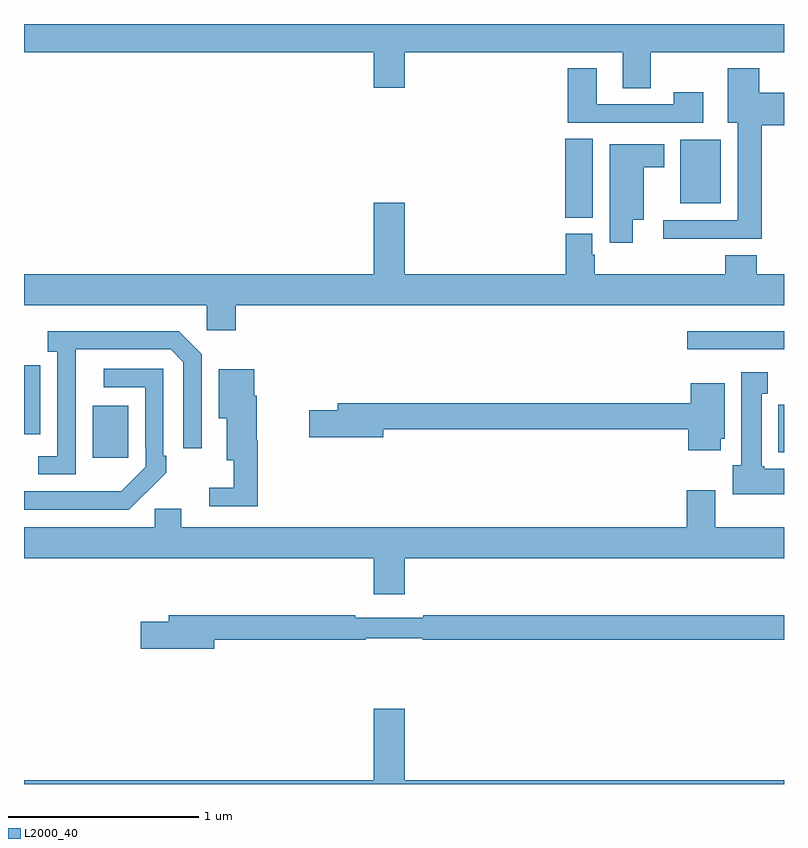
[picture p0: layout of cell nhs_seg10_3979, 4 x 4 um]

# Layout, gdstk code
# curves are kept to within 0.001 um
import gdstk
lib = gdstk.Library(unit=1e-6, precision=1e-09)
def R(c, l, rs):  # rectangles x0, y0, x1, y1
    for r in rs: c.add(gdstk.rectangle(r[:2], r[2:], *l))
def P(c, l, *ps):  # polygons
    for p in ps: c.add(gdstk.Polygon(p, *l))
L2000_40 = (2000, 40)

nhs_seg10_3979 = lib.new_cell('nhs_seg10_3979')
R(nhs_seg10_3979, L2000_40, [(331.361,1262.217,331.549,1262.491), (334.971,1262.246,335,1262.496), (334.491,1262.787,335,1262.884), (333.848,1263.481,333.994,1263.896), (334.454,1263.557,334.666,1263.892)])
P(nhs_seg10_3979, L2000_40, [(334.299,1264.352),(335,1264.352),(335,1264.5),(331,1264.5),(331,1264.352),(332.84,1264.352),(332.84,1264.164),(333.004,1264.164),(333.004,1264.352),(334.151,1264.352),(334.151,1264.162),(334.299,1264.162)],
  [(334.883,1263.968),(335,1263.968),(335,1264.138),(334.87,1264.138),(334.87,1264.267),(334.703,1264.267),(334.703,1263.98),(334.757,1263.98),(334.757,1263.468),(334.365,1263.468),(334.365,1263.371),(334.883,1263.371)],
  [(334.576,1264.141),(334.42,1264.141),(334.42,1264.077),(334.015,1264.077),(334.015,1264.267),(333.863,1264.267),(333.863,1263.981),(334.576,1263.981)],
  [(334.204,1263.47),(334.261,1263.47),(334.261,1263.746),(334.369,1263.746),(334.369,1263.868),(334.082,1263.868),(334.082,1263.348),(334.204,1263.348)],
  [(332.114,1263.02),(335,1263.02),(335,1263.184),(334.856,1263.184),(334.856,1263.283),(334.691,1263.283),(334.691,1263.184),(334.004,1263.184),(334.004,1263.285),(333.991,1263.285),(333.991,1263.396),(333.851,1263.396),(333.851,1263.184),(333.004,1263.184),(333.004,1263.559),(332.84,1263.559),(332.84,1263.184),(331,1263.184),(331,1263.02),(331.962,1263.02),(331.962,1262.889),(332.114,1262.889)],
  [(331.272,1262.587),(331.273,1262.787),(331.773,1262.787),(331.839,1262.721),(331.839,1262.268),(331.935,1262.268),(331.935,1262.763),(331.814,1262.884),(331.125,1262.884),(331.125,1262.774),(331.176,1262.774),(331.176,1262.226),(331.074,1262.226),(331.074,1262.13),(331.272,1262.13)],
  [(331.086,1262.594),(331.085,1262.594),(331.085,1262.703),(331,1262.703),(331,1262.34),(331.086,1262.34)],
  [(331.643,1262.035),(331.644,1262.034),(331.749,1262.139),(331.749,1262.227),(331.734,1262.227),(331.734,1262.685),(331.419,1262.685),(331.419,1262.589),(331.638,1262.589),(331.638,1262.269),(331.641,1262.269),(331.641,1262.169),(331.513,1262.041),(331,1262.04),(331,1261.944),(331.552,1261.944)],
  [(332.231,1262.308),(332.224,1262.308),(332.224,1262.544),(332.212,1262.544),(332.212,1262.683),(332.024,1262.683),(332.024,1262.426),(332.066,1262.426),(332.066,1262.204),(332.103,1262.204),(332.103,1262.059),(331.974,1262.059),(331.974,1261.962),(332.231,1261.962)],
  [(335,1262.158),(334.896,1262.158),(334.896,1262.172),(334.882,1262.172),(334.882,1262.555),(334.915,1262.555),(334.915,1262.668),(334.775,1262.668),(334.775,1262.178),(334.73,1262.178),(334.73,1262.024),(335,1262.024)],
  [(334.666,1262.316),(334.687,1262.316),(334.687,1262.608),(334.508,1262.608),(334.508,1262.504),(332.651,1262.504),(332.651,1262.468),(332.502,1262.468),(332.502,1262.326),(332.89,1262.326),(332.89,1262.368),(334.496,1262.368),(334.496,1262.256),(334.666,1262.256)],
  [(333.004,1261.688),(335,1261.688),(335,1261.852),(334.639,1261.852),(334.639,1262.047),(334.487,1262.047),(334.487,1261.852),(331.828,1261.852),(331.828,1261.95),(331.689,1261.95),(331.689,1261.852),(331,1261.852),(331,1261.688),(332.84,1261.688),(332.84,1261.5),(333.004,1261.5)],
  [(332.002,1261.258),(332.798,1261.258),(332.798,1261.266),(333.098,1261.266),(333.098,1261.258),(335,1261.258),(335,1261.387),(333.1,1261.387),(333.1,1261.374),(332.744,1261.374),(332.744,1261.387),(331.763,1261.387),(331.763,1261.353),(331.614,1261.353),(331.614,1261.211),(332.002,1261.211)],
  [(335,1260.52),(333.004,1260.52),(333.004,1260.895),(332.84,1260.895),(332.84,1260.52),(331,1260.52),(331,1260.5),(335,1260.5)])

lib.write_gds('nhs_seg10_3979.gds')
